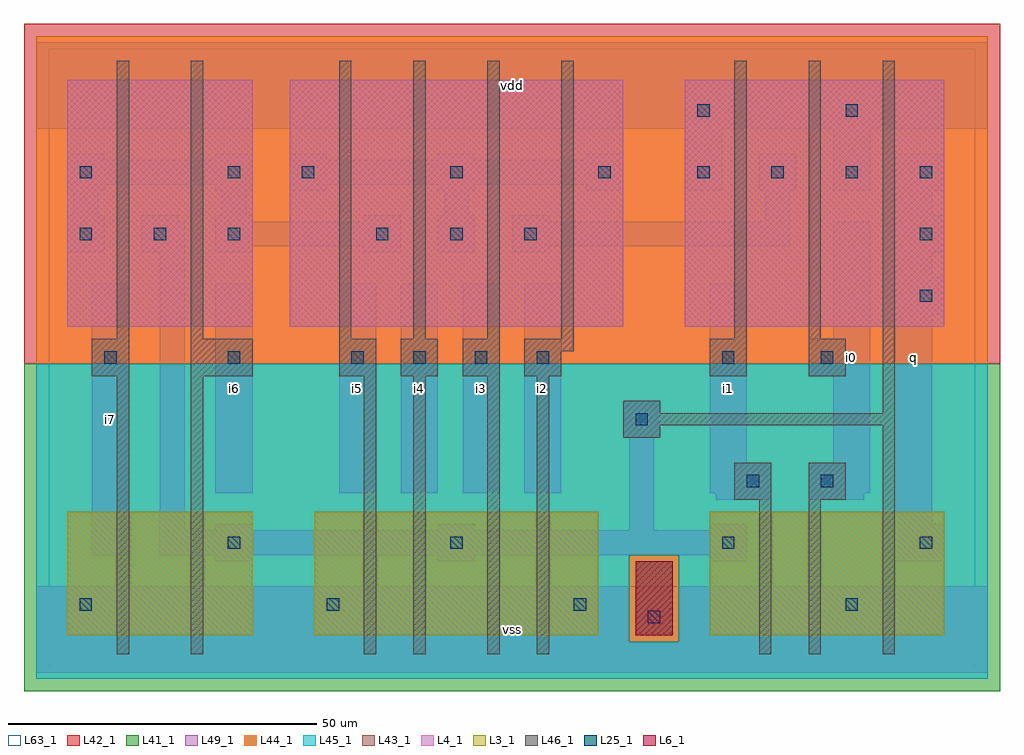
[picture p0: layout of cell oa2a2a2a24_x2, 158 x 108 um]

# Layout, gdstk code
import gdstk
lib = gdstk.Library(unit=1e-6, precision=1e-09)
def R(c, l, rs):  # rectangles x0, y0, x1, y1
    for r in rs: c.add(gdstk.rectangle(r[:2], r[2:], *l))
def A(c, l, x, y, w, h, nx, ny, dx, dy):  # array of equal rectangles
    R(c, l, [(x+i*dx, y+j*dy, x+i*dx+w, y+j*dy+h) for i in range(nx) for j in range(ny)])
L3_1 = (3, 1)
L4_1 = (4, 1)
L6_1 = (6, 1)
L25_1 = (25, 1)
L41_1 = (41, 1)
L42_1 = (42, 1)
L43_1 = (43, 1)
L44_1 = (44, 1)
L45_1 = (45, 1)
L46_1 = (46, 1)
L49_1 = (49, 1)
L63_1 = (63, 1)

oa2a2a2a24_x2 = lib.new_cell('oa2a2a2a24_x2')
R(oa2a2a2a24_x2, L3_1, [(3,5,33,25), (43,5,89,25), (107,5,145,25)])
R(oa2a2a2a24_x2, L4_1, [(3,55,33,95), (39,55,93,95), (103,55,145,95)])
R(oa2a2a2a24_x2, L6_1, [(95,5,101,17)])
A(oa2a2a2a24_x2, L25_1, 5, 9, 2, 2, 3, 1, 40, 0)
A(oa2a2a2a24_x2, L25_1, 9, 49, 2, 2, 3, 1, 20, 0)
A(oa2a2a2a24_x2, L25_1, 59, 49, 2, 2, 3, 1, 10, 0)
A(oa2a2a2a24_x2, L25_1, 5, 69, 2, 2, 3, 1, 12, 0)
A(oa2a2a2a24_x2, L25_1, 53, 69, 2, 2, 3, 1, 12, 0)
A(oa2a2a2a24_x2, L25_1, 41, 79, 2, 2, 3, 1, 24, 0)
A(oa2a2a2a24_x2, L25_1, 105, 79, 2, 2, 4, 1, 12, 0)
R(oa2a2a2a24_x2, L25_1, [(97,7,99,9), (129,9,131,11), (29,19,31,21), (65,19,67,21), (109,19,111,21), (141,19,143,21), (113,29,115,31), (125,29,127,31), (95,39,97,41), (109,49,111,51), (125,49,127,51), (141,59,143,61), (141,69,143,71), (5,79,7,81), (29,79,31,81), (105,89,107,91), (129,89,131,91)])
R(oa2a2a2a24_x2, L41_1, [(-4,-4,154,49)])
R(oa2a2a2a24_x2, L42_1, [(-4,49,154,104)])
R(oa2a2a2a24_x2, L43_1, [(3,5,33,25), (43,5,89,25), (95,5,101,17), (107,5,145,25), (3,55,33,95), (39,55,93,95), (103,55,145,95)])
R(oa2a2a2a24_x2, L44_1, [(94,4,102,18), (-2,49,152,102)])
R(oa2a2a2a24_x2, L45_1, [(-2,-2,152,4), (-2,4,94,18), (102,4,152,18), (-2,18,152,49)])
A(oa2a2a2a24_x2, L46_1, 47, 47, 6, 6, 3, 1, 10, 0)
A(oa2a2a2a24_x2, L46_1, 47, 53, 2, 45, 4, 1, 12, 0)
R(oa2a2a2a24_x2, L46_1, [(11,2,13,47), (23,2,25,47), (51,2,53,47), (59,2,61,47), (71,2,73,47), (79,2,81,47), (115,2,117,27), (123,2,125,27), (135,2,137,39), (111,27,117,33), (123,27,129,33), (93,37,99,39), (93,39,137,41), (93,41,99,43), (135,41,137,98), (7,47,13,53), (23,47,33,53), (77,47,83,51), (107,47,113,53), (123,47,129,53), (77,51,85,53), (11,53,13,98), (23,53,25,98), (111,53,113,98), (123,53,125,98)])
A(oa2a2a2a24_x2, L49_1, 47, 28, 6, 34, 4, 1, 10, 0)
A(oa2a2a2a24_x2, L49_1, 137, 57, 8, 6, 1, 3, 0, 10)
A(oa2a2a2a24_x2, L49_1, 27, 67, 6, 1, 3, 2, 24, 5)
A(oa2a2a2a24_x2, L49_1, 39, 77, 6, 1, 3, 2, 24, 5)
R(oa2a2a2a24_x2, L49_1, [(-2,-1,152,13), (27,17,33,18), (63,17,69,18), (107,17,113,18), (137,17,145,23), (7,18,13,62), (18,18,113,22), (18,22,22,67), (27,22,33,23), (63,22,69,23), (94,22,98,37), (107,22,113,23), (137,23,143,57), (108,27,117,28), (123,27,132,28), (27,28,33,62), (107,28,117,33), (123,28,133,33), (107,33,113,62), (127,33,133,47), (93,37,99,43), (123,47,133,53), (127,53,133,72), (137,63,143,67), (3,67,9,73), (15,67,22,72), (63,67,69,73), (27,68,57,72), (75,68,120,72), (15,72,21,73), (116,72,120,77), (4,73,8,77), (28,73,32,77), (64,73,68,77), (137,73,143,77), (3,77,9,78), (27,77,33,78), (103,77,109,87), (115,77,121,83), (127,77,133,87), (3,78,33,82), (39,78,93,82), (3,82,9,83), (27,82,33,83), (-2,87,152,101)])
R(oa2a2a2a24_x2, L63_1, [(0,0,150,100)])
oa2a2a2a24_x2.add(gdstk.Label('i7', (10,40), layer=49, texttype=1))
oa2a2a2a24_x2.add(gdstk.Label('i7', (10,40), layer=49, texttype=1))
oa2a2a2a24_x2.add(gdstk.Label('i6', (30,45), layer=49, texttype=1))
oa2a2a2a24_x2.add(gdstk.Label('i6', (30,45), layer=49, texttype=1))
oa2a2a2a24_x2.add(gdstk.Label('i5', (50,45), layer=49, texttype=1))
oa2a2a2a24_x2.add(gdstk.Label('i5', (50,45), layer=49, texttype=1))
oa2a2a2a24_x2.add(gdstk.Label('vss', (75,6), layer=49, texttype=1))
oa2a2a2a24_x2.add(gdstk.Label('vss', (75,6), layer=49, texttype=1))
oa2a2a2a24_x2.add(gdstk.Label('i4', (60,45), layer=49, texttype=1))
oa2a2a2a24_x2.add(gdstk.Label('i4', (60,45), layer=49, texttype=1))
oa2a2a2a24_x2.add(gdstk.Label('i2', (80,45), layer=49, texttype=1))
oa2a2a2a24_x2.add(gdstk.Label('i3', (70,45), layer=49, texttype=1))
oa2a2a2a24_x2.add(gdstk.Label('i3', (70,45), layer=49, texttype=1))
oa2a2a2a24_x2.add(gdstk.Label('i2', (80,45), layer=49, texttype=1))
oa2a2a2a24_x2.add(gdstk.Label('vdd', (75,94), layer=49, texttype=1))
oa2a2a2a24_x2.add(gdstk.Label('vdd', (75,94), layer=49, texttype=1))
oa2a2a2a24_x2.add(gdstk.Label('i1', (110,45), layer=49, texttype=1))
oa2a2a2a24_x2.add(gdstk.Label('i1', (110,45), layer=49, texttype=1))
oa2a2a2a24_x2.add(gdstk.Label('i0', (130,50), layer=49, texttype=1))
oa2a2a2a24_x2.add(gdstk.Label('q', (140,50), layer=49, texttype=1))
oa2a2a2a24_x2.add(gdstk.Label('q', (140,50), layer=49, texttype=1))
oa2a2a2a24_x2.add(gdstk.Label('i0', (130,50), layer=49, texttype=1))

lib.write_gds('oa2a2a2a24_x2.gds')
